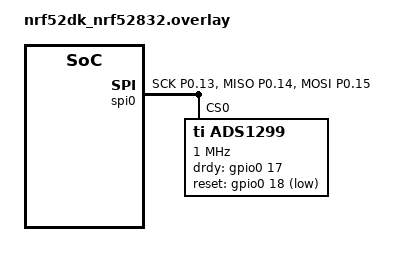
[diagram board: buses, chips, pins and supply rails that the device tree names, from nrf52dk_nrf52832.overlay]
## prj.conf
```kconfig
#
# Copyright (c) 2018 Nordic Semiconductor
#
# SPDX-License-Identifier: LicenseRef-Nordic-5-Clause
#

# Enable the UART driver
CONFIG_UART_ASYNC_API=y
CONFIG_NRFX_UARTE0=y
CONFIG_SERIAL=y

CONFIG_GPIO=y
CONFIG_SPI=y
CONFIG_SOC_NRF52832_ALLOW_SPIM_DESPITE_PAN_58=y

# Make sure printk is printing to the UART console
CONFIG_CONSOLE=y
CONFIG_UART_CONSOLE=y
CONFIG_HEAP_MEM_POOL_SIZE=2048

CONFIG_BT=y
CONFIG_BT_PERIPHERAL=y
CONFIG_BT_DEVICE_NAME="ANA_STICKER"
CONFIG_BT_MAX_CONN=1
CONFIG_BT_MAX_PAIRED=1

# Enable the NUS service
CONFIG_BT_NUS=y

# Enable bonding
CONFIG_BT_SETTINGS=y
CONFIG_FLASH=y
CONFIG_FLASH_PAGE_LAYOUT=y
CONFIG_FLASH_MAP=y
CONFIG_NVS=y
CONFIG_SETTINGS=y

# Enable DK LED and Buttons library
CONFIG_DK_LIBRARY=y

# This example requires more stack
CONFIG_MAIN_STACK_SIZE=1152
CONFIG_SYSTEM_WORKQUEUE_STACK_SIZE=2048

# Config logger
CONFIG_LOG=y
CONFIG_USE_SEGGER_RTT=y
CONFIG_LOG_BACKEND_RTT=y
CONFIG_LOG_BACKEND_UART=n
CONFIG_LOG_PRINTK=n

CONFIG_ASSERT=y
```

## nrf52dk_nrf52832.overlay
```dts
&spi0 {
    compatible = "nordic,nrf-spim";
    status = "okay";
    pinctrl-0 = <&spi0_default>;
    pinctrl-1 = <&spi0_sleep>;
    pinctrl-names = "default", "sleep";
    

    ads1299: ads1299@0 {
        compatible = "ti,ads1299";
        reg = <0>;
        spi-max-frequency = <1000000>;
        label = "ADS1299";

        cs-gpios = <&gpio0 16 GPIO_ACTIVE_LOW>;
        drdy-gpios = <&gpio0 17 GPIO_ACTIVE_HIGH>;
        reset-gpios = <&gpio0 18 GPIO_ACTIVE_LOW>;
        status = "okay";
    };
};

&pinctrl {
    spi0_default: spi0_default {
        group1 {
            psels = <NRF_PSEL(SPIM_SCK, 0, 13)>,
                    <NRF_PSEL(SPIM_MISO, 0, 14)>,
                    <NRF_PSEL(SPIM_MOSI, 0, 15)>;
        };
    };

    spi0_sleep: spi0_sleep {
        group1 {
            psels = <NRF_PSEL(SPIM_SCK, 0, 13)>,
                    <NRF_PSEL(SPIM_MISO, 0, 14)>,
                    <NRF_PSEL(SPIM_MOSI, 0, 15)>;
        };
    };
};

&button0 {
    status = "disabled";
};

&button1 {
    status = "disabled";
};

&button2 {
    status = "disabled";
};

&button3 {
    status = "disabled";
};

&pwm0 {
    status = "disabled";
};

&led0 {
    status = "disabled";
};

&led1 {
    status = "disabled";
};

&i2c0 {
    status = "disabled";
};

/ {
    chosen {
        nordic_nus_uart = &uart0;
    };
};
```

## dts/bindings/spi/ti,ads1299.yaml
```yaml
description: |
  Texas Instruments ADS1299 - 8-channel, 24-bit, biopotential ADC

compatible: "ti,ads1299"
on-bus: spi

properties:
  reg:
    type: int
    required: true
    description: Chip select address on the SPI bus

  spi-max-frequency:
    type: int
    required: true
    description: Maximum SPI clock frequency in Hz
  cs-gpios:
    type: phandle-array
    required: true
    description: CS GPIO
  drdy-gpios:
    type: phandle-array
    required: true
    description: Data Ready (DRDY) interrupt GPIO

  reset-gpios:
    type: phandle-array
    required: false
    description: Optional reset GPIO for hardware reset

  label:
    type: string
    required: false
    description: Human-readable label for the device
```

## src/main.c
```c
/*
 * Copyright (c) 2018 Nordic Semiconductor ASA
 *
 * SPDX-License-Identifier: LicenseRef-Nordic-5-Clause
 */

/** @file
 *  @brief Nordic UART Bridge Service (NUS) sample
 */
#include <uart_async_adapter.h>

#include <zephyr/types.h>
#include <zephyr/kernel.h>
#include <zephyr/drivers/uart.h>
#include <zephyr/usb/usb_device.h>

#include <zephyr/device.h>
#include <zephyr/devicetree.h>
#include <soc.h>

#include <zephyr/bluetooth/bluetooth.h>
#include <zephyr/bluetooth/uuid.h>
#include <zephyr/bluetooth/gatt.h>
#include <zephyr/bluetooth/hci.h>

#include <bluetooth/services/nus.h>

#include <dk_buttons_and_leds.h>

#include <zephyr/settings/settings.h>

#include <stdio.h>
#include <string.h>
#include <zephyr/random/rand32.h>
#include <zephyr/logging/log.h>
#include "ads1299.h"
#include <zephyr/drivers/spi.h>
#include <zephyr/drivers/gpio.h>
#define LOG_MODULE_NAME peripheral_uart
LOG_MODULE_REGISTER(LOG_MODULE_NAME);

#define STACKSIZE CONFIG_BT_NUS_THREAD_STACK_SIZE
#define PRIORITY 7

#define DEVICE_NAME CONFIG_BT_DEVICE_NAME
#define DEVICE_NAME_LEN	(sizeof(DEVICE_NAME) - 1)

#define RUN_STATUS_LED DK_LED1
#define RUN_LED_BLINK_INTERVAL 1000

#define CON_STATUS_LED DK_LED2

#define KEY_PASSKEY_ACCEPT DK_BTN1_MSK
#define KEY_PASSKEY_REJECT DK_BTN2_MSK

#define UART_BUF_SIZE CONFIG_BT_NUS_UART_BUFFER_SIZE
#define UART_WAIT_FOR_BUF_DELAY K_MSEC(50)
#define UART_WAIT_FOR_RX CONFIG_BT_NUS_UART_RX_WAIT_TIME

static K_SEM_DEFINE(ble_init_ok, 0, 1);

static struct bt_conn *current_conn;
static struct bt_conn *auth_conn;

static const struct device *uart = DEVICE_DT_GET(DT_CHOSEN(nordic_nus_uart));
static struct k_work_delayable uart_work;

struct uart_data_t {
	void *fifo_reserved;
	uint8_t data[UART_BUF_SIZE];
	uint16_t len;
};

static K_FIFO_DEFINE(fifo_uart_tx_data);
static K_FIFO_DEFINE(fifo_uart_rx_data);

static const struct bt_data ad[] = {
	BT_DATA_BYTES(BT_DATA_FLAGS, (BT_LE_AD_GENERAL | BT_LE_AD_NO_BREDR)),
	BT_DATA(BT_DATA_NAME_COMPLETE, DEVICE_NAME, DEVICE_NAME_LEN),
};

static const struct bt_data sd[] = {
	BT_DATA_BYTES(BT_DATA_UUID128_ALL, BT_UUID_NUS_VAL),
};

#ifdef CONFIG_UART_ASYNC_ADAPTER
UART_ASYNC_ADAPTER_INST_DEFINE(async_adapter);
#else
#define async_adapter NULL
#endif

//Keeran you can change this to your hearts desire(the interval at which one set of data is sent and how many channels)
#define EEG_SEND_INTERVAL_MS 4
#define EEG_CHANNELS 4
/*------------------------------------------
fake eeg generator and sender
--------------------------------------------*/
static void send_latest_eeg(void)
{
    if (!current_conn) {
        return; // no BLE connection
    }

    uint8_t buf[EEG_CHANNELS*3];
    ads1299_get_latest_sample(buf);

    int err = bt_nus_send(current_conn, buf, sizeof(buf));
    if (err) {
        printk("bt_nus_send error: %d\n", err);
    } 
	// else {
    //     // Print the raw EEG values per channel to the terminal
    //     for (int ch = 0; ch < EEG_CHANNELS; ch++) {
    //         int32_t val = (buf[ch*3] << 16) | (buf[ch*3 + 1] << 8) | buf[ch*3 + 2];
    //         if (val & 0x800000) val |= 0xFF000000; // sign extend 24-bit to 32-bit
    //         printk("Channel %d: %ld\n", ch + 1, (long)val);
    //     }
    // }
}
static void uart_cb(const struct device *dev, struct uart_event *evt, void *user_data)
{
	ARG_UNUSED(dev);

	static size_t aborted_len;
	struct uart_data_t *buf;
	static uint8_t *aborted_buf;
	static bool disable_req;

	switch (evt->type) {
	case UART_TX_DONE:
		LOG_DBG("UART_TX_DONE");
		if ((evt->data.tx.len == 0) ||
		    (!evt->data.tx.buf)) {
			return;
		}

		if (aborted_buf) {
			buf = CONTAINER_OF(aborted_buf, struct uart_data_t,
					   data[0]);
			aborted_buf = NULL;
			aborted_len = 0;
		} else {
			buf = CONTAINER_OF(evt->data.tx.buf, struct uart_data_t,
					   data[0]);
		}

		k_free(buf);

		buf = k_fifo_get(&fifo_uart_tx_data, K_NO_WAIT);
		if (!buf) {
			return;
		}

		if (uart_tx(uart, buf->data, buf->len, SYS_FOREVER_MS)) {
			LOG_WRN("Failed to send data over UART");
		}

		break;

	case UART_RX_RDY:
		LOG_DBG("UART_RX_RDY");
		buf = CONTAINER_OF(evt->data.rx.buf, struct uart_data_t, data[0]);
		buf->len += evt->data.rx.len;

		if (disable_req) {
			return;
		}

		if ((evt->data.rx.buf[buf->len - 1] == '\n') ||
		    (evt->data.rx.buf[buf->len - 1] == '\r')) {
			disable_req = true;
			uart_rx_disable(uart);
		}

		break;

	case UART_RX_DISABLED:
		LOG_DBG("UART_RX_DISABLED");
		disable_req = false;

		buf = k_malloc(sizeof(*buf));
		if (buf) {
			buf->len = 0;
		} else {
			LOG_WRN("Not able to allocate UART receive buffer");
			k_work_reschedule(&uart_work, UART_WAIT_FOR_BUF_DELAY);
			return;
		}

		uart_rx_enable(uart, buf->data, sizeof(buf->data),
			       UART_WAIT_FOR_RX);

		break;

	case UART_RX_BUF_REQUEST:
		LOG_DBG("UART_RX_BUF_REQUEST");
		buf = k_malloc(sizeof(*buf));
		if (buf) {
			buf->len = 0;
			uart_rx_buf_rsp(uart, buf->data, sizeof(buf->data));
		} else {
			LOG_WRN("Not able to allocate UART receive buffer");
		}

		break;

	case UART_RX_BUF_RELEASED:
		LOG_DBG("UART_RX_BUF_RELEASED");
		buf = CONTAINER_OF(evt->data.rx_buf.buf, struct uart_data_t,
				   data[0]);

		if (buf->len > 0) {
			k_fifo_put(&fifo_uart_rx_data, buf);
		} else {
			k_free(buf);
		}

		break;

	case UART_TX_ABORTED:
		LOG_DBG("UART_TX_ABORTED");
		if (!aborted_buf) {
			aborted_buf = (uint8_t *)evt->data.tx.buf;
		}

		aborted_len += evt->data.tx.len;
		buf = CONTAINER_OF((void *)aborted_buf, struct uart_data_t,
				   data);

		uart_tx(uart, &buf->data[aborted_len],
			buf->len - aborted_len, SYS_FOREVER_MS);

		break;

	default:
		break;
	}
}

static void uart_work_handler(struct k_work *item)
{
	struct uart_data_t *buf;

	buf = k_malloc(sizeof(*buf));
	if (buf) {
		buf->len = 0;
	} else {
		LOG_WRN("Not able to allocate UART receive buffer");
		k_work_reschedule(&uart_work, UART_WAIT_FOR_BUF_DELAY);
		return;
	}

	uart_rx_enable(uart, buf->data, sizeof(buf->data), UART_WAIT_FOR_RX);
}

static bool uart_test_async_api(const struct device *dev)
{
	const struct uart_driver_api *api =
			(const struct uart_driver_api *)dev->api;

	return (api->callback_set != NULL);
}

static int uart_init(void)
{
	int err;
	int pos;
	struct uart_data_t *rx;
	struct uart_data_t *tx;

	if (!device_is_ready(uart)) {
		return -ENODEV;
	}

	if (IS_ENABLED(CONFIG_USB_DEVICE_STACK)) {
		err = usb_enable(NULL);
		if (err && (err != -EALREADY)) {
			LOG_ERR("Failed to enable USB");
			return err;
		}
	}

	rx = k_malloc(sizeof(*rx));
	if (rx) {
		rx->len = 0;
	} else {
		return -ENOMEM;
	}

	k_work_init_delayable(&uart_work, uart_work_handler);


	if (IS_ENABLED(CONFIG_UART_ASYNC_ADAPTER) && !uart_test_async_api(uart)) {
		/* Implement API adapter */
		uart_async_adapter_init(async_adapter, uart);
		uart = async_adapter;
	}

	err = uart_callback_set(uart, uart_cb, NULL);
	if (err) {
		k_free(rx);
		LOG_ERR("Cannot initialize UART callback");
		return err;
	}

	if (IS_ENABLED(CONFIG_UART_LINE_CTRL)) {
		LOG_INF("Wait for DTR");
		while (true) {
			uint32_t dtr = 0;

			uart_line_ctrl_get(uart, UART_LINE_CTRL_DTR, &dtr);
			if (dtr) {
				break;
			}
			/* Give CPU resources to low priority threads. */
			k_sleep(K_MSEC(100));
		}
		LOG_INF("DTR set");
		err = uart_line_ctrl_set(uart, UART_LINE_CTRL_DCD, 1);
		if (err) {
			LOG_WRN("Failed to set DCD, ret code %d", err);
		}
		err = uart_line_ctrl_set(uart, UART_LINE_CTRL_DSR, 1);
		if (err) {
			LOG_WRN("Failed to set DSR, ret code %d", err);
		}
	}

	tx = k_malloc(sizeof(*tx));

	if (tx) {
		pos = snprintf(tx->data, sizeof(tx->data),
			       "Starting Nordic UART service example\r\n");

		if ((pos < 0) || (pos >= sizeof(tx->data))) {
			k_free(rx);
			k_free(tx);
			LOG_ERR("snprintf returned %d", pos);
			return -ENOMEM;
		}

		tx->len = pos;
	} else {
		k_free(rx);
		return -ENOMEM;
	}

	err = uart_tx(uart, tx->data, tx->len, SYS_FOREVER_MS);
	if (err) {
		k_free(rx);
		k_free(tx);
		LOG_ERR("Cannot display welcome message (err: %d)", err);
		return err;
	}

	err = uart_rx_enable(uart, rx->data, sizeof(rx->data), UART_WAIT_FOR_RX);
	if (err) {
		LOG_ERR("Cannot enable uart reception (err: %d)", err);
		/* Free the rx buffer only because the tx buffer will be handled in the callback */
		k_free(rx);
	}

	return err;
}

static void connected(struct bt_conn *conn, uint8_t err)
{
	char addr[BT_ADDR_LE_STR_LEN];

	if (err) {
		LOG_ERR("Connection failed (err %u)", err);
		return;
	}

	bt_addr_le_to_str(bt_conn_get_dst(conn), addr, sizeof(addr));
	LOG_INF("Connected %s", addr);

	current_conn = bt_conn_ref(conn);

	dk_set_led_on(CON_STATUS_LED);
}

static void disconnected(struct bt_conn *conn, uint8_t reason)
{
	char addr[BT_ADDR_LE_STR_LEN];

	bt_addr_le_to_str(bt_conn_get_dst(conn), addr, sizeof(addr));

	LOG_INF("Disconnected: %s (reason %u)", addr, reason);

	if (auth_conn) {
		bt_conn_unref(auth_conn);
		auth_conn = NULL;
	}

	if (current_conn) {
		bt_conn_unref(current_conn);
		current_conn = NULL;
		dk_set_led_off(CON_STATUS_LED);
	}
}

#ifdef CONFIG_BT_NUS_SECURITY_ENABLED
static void security_changed(struct bt_conn *conn, bt_security_t level,
			     enum bt_security_err err)
{
	char addr[BT_ADDR_LE_STR_LEN];

	bt_addr_le_to_str(bt_conn_get_dst(conn), addr, sizeof(addr));

	if (!err) {
		LOG_INF("Security changed: %s level %u", addr, level);
	} else {
		LOG_WRN("Security failed: %s level %u err %d", addr,
			level, err);
	}
}
#endif

BT_CONN_CB_DEFINE(conn_callbacks) = {
	.connected    = connected,
	.disconnected = disconnected,
#ifdef CONFIG_BT_NUS_SECURITY_ENABLED
	.security_changed = security_changed,
#endif
};

#if defined(CONFIG_BT_NUS_SECURITY_ENABLED)
static void auth_passkey_display(struct bt_conn *conn, unsigned int passkey)
{
	char addr[BT_ADDR_LE_STR_LEN];

	bt_addr_le_to_str(bt_conn_get_dst(conn), addr, sizeof(addr));

	LOG_INF("Passkey for %s: %06u", addr, passkey);
}

static void auth_passkey_confirm(struct bt_conn *conn, unsigned int passkey)
{
	char addr[BT_ADDR_LE_STR_LEN];

	auth_conn = bt_conn_ref(conn);

	bt_addr_le_to_str(bt_conn_get_dst(conn), addr, sizeof(addr));

	LOG_INF("Passkey for %s: %06u", addr, passkey);
	LOG_INF("Press Button 1 to confirm, Button 2 to reject.");
}


static void auth_cancel(struct bt_conn *conn)
{
	char addr[BT_ADDR_LE_STR_LEN];

	bt_addr_le_to_str(bt_conn_get_dst(conn), addr, sizeof(addr));

	LOG_INF("Pairing cancelled: %s", addr);
}


static void pairing_complete(struct bt_conn *conn, bool bonded)
{
	char addr[BT_ADDR_LE_STR_LEN];

	bt_addr_le_to_str(bt_conn_get_dst(conn), addr, sizeof(addr));

	LOG_INF("Pairing completed: %s, bonded: %d", addr, bonded);
}


static void pairing_failed(struct bt_conn *conn, enum bt_security_err reason)
{
	char addr[BT_ADDR_LE_STR_LEN];

	bt_addr_le_to_str(bt_conn_get_dst(conn), addr, sizeof(addr));

	LOG_INF("Pairing failed conn: %s, reason %d", addr, reason);
}


static struct bt_conn_auth_cb conn_auth_callbacks = {
	.passkey_display = auth_passkey_display,
	.passkey_confirm = auth_passkey_confirm,
	.cancel = auth_cancel,
};

static struct bt_conn_auth_info_cb conn_auth_info_callbacks = {
	.pairing_complete = pairing_complete,
	.pairing_failed = pairing_failed
};
#else
static struct bt_conn_auth_cb conn_auth_callbacks;
static struct bt_conn_auth_info_cb conn_auth_info_callbacks;
#endif

static void bt_receive_cb(struct bt_conn *conn, const uint8_t *const data,
			  uint16_t len)
{
	int err;
	char addr[BT_ADDR_LE_STR_LEN] = {0};

	bt_addr_le_to_str(bt_conn_get_dst(conn), addr, ARRAY_SIZE(addr));

	LOG_INF("Received data from: %s", addr);

	for (uint16_t pos = 0; pos != len;) {
		struct uart_data_t *tx = k_malloc(sizeof(*tx));

		if (!tx) {
			LOG_WRN("Not able to allocate UART send data buffer");
			return;
		}

		/* Keep the last byte of TX buffer for potential LF char. */
		size_t tx_data_size = sizeof(tx->data) - 1;

		if ((len - pos) > tx_data_size) {
			tx->len = tx_data_size;
		} else {
			tx->len = (len - pos);
		}

		memcpy(tx->data, &data[pos], tx->len);

		pos += tx->len;

		/* Append the LF character when the CR character triggered
		 * transmission from the peer.
		 */
		if ((pos == len) && (data[len - 1] == '\r')) {
			tx->data[tx->len] = '\n';
			tx->len++;
		}

		err = uart_tx(uart, tx->data, tx->len, SYS_FOREVER_MS);
		if (err) {
			k_fifo_put(&fifo_uart_tx_data, tx);
		}
	}
}

static struct bt_nus_cb nus_cb = {
	.received = bt_receive_cb,
};

void error(void)
{
	dk_set_leds_state(DK_ALL_LEDS_MSK, DK_NO_LEDS_MSK);

	while (true) {
		/* Spin for ever */
		k_sleep(K_MSEC(1000));
	}
}

#ifdef CONFIG_BT_NUS_SECURITY_ENABLED
static void num_comp_reply(bool accept)
{
	if (accept) {
		bt_conn_auth_passkey_confirm(auth_conn);
		LOG_INF("Numeric Match, conn %p", (void *)auth_conn);
	} else {
		bt_conn_auth_cancel(auth_conn);
		LOG_INF("Numeric Reject, conn %p", (void *)auth_conn);
	}

	bt_conn_unref(auth_conn);
	auth_conn = NULL;
}

void button_changed(uint32_t button_state, uint32_t has_changed)
{
	uint32_t buttons = button_state & has_changed;

	if (auth_conn) {
		if (buttons & KEY_PASSKEY_ACCEPT) {
			num_comp_reply(true);
		}

		if (buttons & KEY_PASSKEY_REJECT) {
			num_comp_reply(false);
		}
	}
}
#endif /* CONFIG_BT_NUS_SECURITY_ENABLED */

static void configure_gpio(void)
{
	int err;

#ifdef CONFIG_BT_NUS_SECURITY_ENABLED
	err = dk_buttons_init(button_changed);
	if (err) {
		LOG_ERR("Cannot init buttons (err: %d)", err);
	}
#endif /* CONFIG_BT_NUS_SECURITY_ENABLED */

	err = dk_leds_init();
	if (err) {
		LOG_ERR("Cannot init LEDs (err: %d)", err);
	}
}

int main(void)
{
	int blink_status = 0;
	int err = 0;

	configure_gpio();

	err = uart_init();
	if (err) {
		error();
	}

	if (IS_ENABLED(CONFIG_BT_NUS_SECURITY_ENABLED)) {
		err = bt_conn_auth_cb_register(&conn_auth_callbacks);
		if (err) {
			printk("Failed to register authorization callbacks.\n");
			return 0;
		}

		err = bt_conn_auth_info_cb_register(&conn_auth_info_callbacks);
		if (err) {
			printk("Failed to register authorization info callbacks.\n");
			return 0;
		}
	}

	err = bt_enable(NULL);
	if (err) {
		error();
	}

	LOG_INF("Bluetooth initialized");
	

	k_sem_give(&ble_init_ok);

	if (IS_ENABLED(CONFIG_SETTINGS)) {
		settings_load();
	}

	err = bt_nus_init(&nus_cb);
	if (err) {
		LOG_ERR("Failed to initialize UART service (err: %d)", err);
		return 0;
	}

	err = bt_le_adv_start(BT_LE_ADV_CONN, ad, ARRAY_SIZE(ad), sd,
			      ARRAY_SIZE(sd));
	if (err) {
		LOG_ERR("Advertising failed to start (err %d)", err);
		return 0;
	}

	// after BLE init in main.c
	LOG_INF("Starting ADS1299 test");
        const struct device *dev = DEVICE_DT_GET_ONE(ti_ads1299);
        if(!device_is_ready(dev)){
                LOG_ERR("ADS1299 device not ready");
                return 0;
        }
       ads1299_send_command(dev, _START);
       LOG_INF("Streaming of ADS Data started");
       ads1299_send_command(dev, _RDATAC);
	while (1) {
    if (current_conn) {
        k_mutex_lock(&eeg_mutex, K_FOREVER);
        if (sample_ready) {
            uint8_t buf[EEG_CHANNELS*3];
            memcpy(buf, latest_eeg_sample, sizeof(buf));
            sample_ready = false;  // mark as consumed
            k_mutex_unlock(&eeg_mutex);

            int err = bt_nus_send(current_conn, buf, sizeof(buf));
            if (err) {
                LOG_WRN("Failed to send EEG data over BLE: %d", err);
            }
        } else {
            k_mutex_unlock(&eeg_mutex);
        }
    }

    dk_set_led(RUN_STATUS_LED, (++blink_status) % 2);
}

}

void ble_write_thread(void)
{
	/* Don't go any further until BLE is initialized */
	k_sem_take(&ble_init_ok, K_FOREVER);
	struct uart_data_t nus_data = {
		.len = 0,
	};

	for (;;) {
		/* Wait indefinitely for data to be sent over bluetooth */
		struct uart_data_t *buf = k_fifo_get(&fifo_uart_rx_data,
						     K_FOREVER);

		int plen = MIN(sizeof(nus_data.data) - nus_data.len, buf->len);
		int loc = 0;

		while (plen > 0) {
			memcpy(&nus_data.data[nus_data.len], &buf->data[loc], plen);
			nus_data.len += plen;
			loc += plen;

			if (nus_data.len >= sizeof(nus_data.data) ||
			   (nus_data.data[nus_data.len - 1] == '\n') ||
			   (nus_data.data[nus_data.len - 1] == '\r')) {
				if (bt_nus_send(NULL, nus_data.data, nus_data.len)) {
					LOG_WRN("Failed to send data over BLE connection");
				}
				nus_data.len = 0;
			}

			plen = MIN(sizeof(nus_data.data), buf->len - loc);
		}

		k_free(buf);
	}
}

K_THREAD_DEFINE(ble_write_thread_id, STACKSIZE, ble_write_thread, NULL, NULL,
		NULL, PRIORITY, 0, 0);
```

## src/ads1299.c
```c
#include "ads1299.h"
#include <zephyr/kernel.h>
#include <zephyr/logging/log.h>
#include <zephyr/drivers/spi.h>
#include <zephyr/drivers/gpio.h>



#define DT_DRV_COMPAT ti_ads1299
#define ADS1299_CMD_DELAY_US 30
#define EEG_CHANNELS 4
uint8_t latest_eeg_sample[EEG_CHANNELS * 3];
bool sample_ready = false;
K_MUTEX_DEFINE(eeg_mutex); // protects the latest sample
LOG_MODULE_REGISTER(ads1299, LOG_LEVEL_INF);
K_THREAD_STACK_DEFINE(drdy_stack, 1024);
struct k_work_q drdy_work_q;

//Powerup and reset
void ads1299_power_up(const struct device *dev){
    const struct ads1299_data *data = dev->data;
    LOG_INF("Starting ADS1299 Power Up");
    k_usleep(1000000); //Delay power for 1s
    k_usleep(70000); // Delay t_por = 2^16 x t_CLK of ADS (1/1MHz)=0.065s => Delay 70ms CHECK!!!!
    gpio_pin_set_dt(&data->reset_gpio, 1);
    k_busy_wait(10); // Delay 2 x t_CLK of ADS = 2x(1/1MHz)=2us CHECK!!!!
    gpio_pin_set_dt(&data->reset_gpio, 0);
    k_busy_wait(18); // Delay 18 x t_CLK of ADS = 18x(1/1MHz)=18us to start using the Device CHECK!!!!
    k_usleep(1000000); //Delay power for 1s
    LOG_INF("ADS1299 Powered up");
}

//SPI read/write register
uint8_t ads1299_rreg(const struct device *dev, uint8_t address){
    const struct ads1299_data *data = dev->data;
    LOG_INF("Beginning to read from register at address: 0x%02X", address);
    uint8_t tx_buf[3];
    uint8_t rx_buf[3];

    tx_buf[0] = 0x20 | address; // RREG + register address
    tx_buf[1] = 0x00;       // Number of registers to read - 1
    tx_buf[2] = 0x00;       // Dummy byte to clock out register value

    struct spi_buf tx = { .buf = tx_buf, .len = sizeof(tx_buf) };
    struct spi_buf rx = { .buf = rx_buf, .len = sizeof(rx_buf) };

    struct spi_buf_set tx_set = { .buffers = &tx, .count = 1 };
    struct spi_buf_set rx_set = { .buffers = &rx, .count = 1 };
    
    gpio_pin_set_dt(&data->cs_gpios, 1);
    int ret = spi_transceive(data->spi, data->spi_cfg, &tx_set, &rx_set);
    
    if (ret < 0) {
        LOG_ERR("Failed to read register: 0x%02X", ret);
        return ret;
    }
    
    k_busy_wait(30);
    gpio_pin_set_dt(&data->cs_gpios, 0);
    LOG_INF("Register succesfully read from address: 0x%02X", address);
    return rx_buf[2];// Register value arrives in the last byte
}
void ads1299_wrreg(const struct device *dev, uint8_t address, uint8_t value){
    const struct ads1299_data *data = dev->data;
    LOG_INF("Beginning to write to register at address: 0x%02X", address);
    uint8_t tx_buf[3];
    tx_buf[0] = 0x40 | address; // WREG + register address
    tx_buf[1] = 0x00;           // Number of registers to write - 1
    tx_buf[2] = value;           // Data byte

    struct spi_buf tx = { .buf = tx_buf, .len = sizeof(tx_buf) };
    struct spi_buf_set tx_set = { .buffers = &tx, .count = 1 };

    // Send WREG command + data
    gpio_pin_set_dt(&data->cs_gpios, 1);
    int ret = spi_write(data->spi, data->spi_cfg, &tx_set);
    if (ret < 0) {
        LOG_ERR("Failed to write register: 0x%02X", ret);
    }
    k_busy_wait(30); 
    gpio_pin_set_dt(&data->cs_gpios, 0);
    LOG_INF("Succesfully wrote to register at address: 0x%02X", address);
}

//Device recognition(reading device id)
void ads1299_recognise(const struct device *dev){
    const struct ads1299_data *data = dev->data;
    uint8_t ADS_ID = ads1299_rreg(dev, ID);
    if(ADS_ID == 0x3e){
        LOG_INF("Succesfully read device ID: 0x%02X", ADS_ID);
    }
    else{
        LOG_INF("Failed to read device ID: 0x%02X", ADS_ID);
    }
}

//send commands
void ads1299_send_command(const struct device *dev, uint8_t cmd){
    const struct ads1299_data *data = dev->data;
    LOG_INF("Sending command: 0x%02X", cmd);
    struct spi_buf tx_buf = {
        .buf = &cmd,
        .len = 1
    };
    struct spi_buf_set tx_set = {
        .buffers = &tx_buf,
        .count = 1
    };
    
    
    gpio_pin_set_dt(&data->cs_gpios, 1);
    int ret = spi_write(data->spi, data->spi_cfg, &tx_set);
    if (ret < 0 ){
        LOG_INF("Command send failed");
    }
    k_busy_wait(ADS1299_CMD_DELAY_US);
    gpio_pin_set_dt(&data->cs_gpios, 0);
    LOG_INF("Command sent sucesfully");
}

//DRDY INTERRUPT/CALLBACK(data acquisition)
static void drdy_callback(const struct device *port,
                          struct gpio_callback *cb,
                          uint32_t pins)
{
    struct ads1299_data *data = CONTAINER_OF(cb, struct ads1299_data, drdy_cb);

    // Schedule the work on the high-priority workqueue
    k_work_submit_to_queue(&drdy_work_q, &data->drdy_work);
}



#define BASELINE_SAMPLES 500

static int32_t channel_baseline[EEG_CHANNELS] = {0};
static int32_t baseline_accum[EEG_CHANNELS] = {0};
static int baseline_count = 0;
static bool baseline_captured = false;



void ads1299_store_sample(uint8_t *data)
{
    k_mutex_lock(&eeg_mutex, K_FOREVER);
    memcpy(latest_eeg_sample, data, EEG_CHANNELS * 3);
    sample_ready = true;  // <-- mark sample ready
    k_mutex_unlock(&eeg_mutex);
}
void ads1299_get_latest_sample(uint8_t *buf)
{
    k_mutex_lock(&eeg_mutex, K_FOREVER);
    memcpy(buf, latest_eeg_sample, EEG_CHANNELS * 3);
    sample_ready = false;  // <-- sample has been consumed
    k_mutex_unlock(&eeg_mutex);
}

// Called from DRDY work handler
static void ads1299_readout_work_handler(struct k_work *work)
{
    struct ads1299_data *data = CONTAINER_OF(work, struct ads1299_data, drdy_work);

    uint8_t rx_buf[27] = {0};
    uint8_t tx_buf[27] = {0};

    struct spi_buf tx = { .buf = tx_buf, .len = sizeof(tx_buf) };
    struct spi_buf rx = { .buf = rx_buf, .len = sizeof(rx_buf) };

    struct spi_buf_set tx_set = { .buffers = &tx, .count = 1 };
    struct spi_buf_set rx_set = { .buffers = &rx, .count = 1 };
    unsigned int key = irq_lock();   
    gpio_pin_set_dt(&data->cs_gpios, 1);
    int ret = spi_transceive(data->spi, data->spi_cfg, &tx_set, &rx_set);
    gpio_pin_set_dt(&data->cs_gpios, 0);
    irq_unlock(key);
    if (ret < 0) {
        LOG_ERR("SPI read failed: %d", ret);
        return;
    }

    uint8_t eeg_packet[EEG_CHANNELS * 3];
    for (int ch = 0; ch < EEG_CHANNELS; ch++) {
        int32_t val = (rx_buf[3 + 3*ch] << 16) |
                      (rx_buf[3 + 3*ch + 1] << 8) |
                      rx_buf[3 + 3*ch + 2];
        if (val & 0x800000) val |= 0xFF000000; // sign extend
        val -= channel_baseline[ch];

        eeg_packet[ch*3 + 0] = (val >> 16) & 0xFF;
        eeg_packet[ch*3 + 1] = (val >> 8) & 0xFF;
        eeg_packet[ch*3 + 2] = val & 0xFF;
    }

    // store safely under mutex
    printk("Raw bytes: %02X %02X %02X ...\n", rx_buf[3], rx_buf[4], rx_buf[5]);
    ads1299_store_sample(eeg_packet);
}


/* ADS1299 device initialization */
static int ads1299_init(const struct device *dev){
    struct ads1299_data *data = dev->data;
    

    if(!device_is_ready(data->spi)) {
        LOG_ERR("SPI bus not ready");
        return -ENODEV;
    }

    if(!device_is_ready(data->drdy_gpio.port)) {
        LOG_ERR("DRDY GPIO not ready");
        return -ENODEV;
    }

    gpio_pin_configure_dt(&data->drdy_gpio, GPIO_INPUT); //configure as input
    gpio_pin_interrupt_configure_dt(&data->drdy_gpio, GPIO_INT_EDGE_TO_INACTIVE); 

    if(!device_is_ready(data->reset_gpio.port)){
        LOG_ERR("RESET GPIO not ready");
        return -ENODEV;
    }
    gpio_pin_configure_dt(&data->reset_gpio, GPIO_OUTPUT_LOW);
    if(!device_is_ready(data->cs_gpios.port)){
        LOG_ERR("CS GPIO not ready");
        return -ENODEV;
    }
    gpio_pin_configure_dt(&data->cs_gpios, GPIO_OUTPUT_HIGH);

    // Init the work item
    k_work_init(&data->drdy_work, ads1299_readout_work_handler);
    k_work_queue_start(&drdy_work_q,
                   drdy_stack,
                   K_THREAD_STACK_SIZEOF(drdy_stack),
                   K_HIGHEST_APPLICATION_THREAD_PRIO,  // very high priority
                   NULL);
    // Init GPIO callback
    gpio_init_callback(&data->drdy_cb, drdy_callback, BIT(data->drdy_gpio.pin));
    gpio_add_callback(data->drdy_gpio.port, &data->drdy_cb);
   
    //reset and power up ads
    ads1299_power_up(dev);

    // Wake up and stop continuous read
    ads1299_send_command(dev, _WAKEUP);
    ads1299_send_command(dev, _SDATAC);

    LOG_INF("ADS1299 initialised");
    return 0;
}


/* Macro to define an instance of ADS1299 using DT */
static const struct spi_config ads1299_spi_cfg = {
    .frequency = 1000000,                   // 1 MHz, adjust if needed
    .operation = SPI_WORD_SET(8) | SPI_TRANSFER_MSB| SPI_FULL_DUPLEX| SPI_MODE_CPHA| SPI_OP_MODE_MASTER,
    .slave = 0,                              // SPI slave number
    .cs = 0,                       // setting to 0 if doing it manually
};
    #define ADS1299_DEFINE(inst) \
    static struct ads1299_data ads1299_data_##inst = { \
        .spi = DEVICE_DT_GET(DT_INST_BUS(inst)), \
        .spi_cfg = &ads1299_spi_cfg, \
        .cs_gpios = GPIO_DT_SPEC_GET(DT_DRV_INST(inst), cs_gpios), \
        .drdy_gpio = GPIO_DT_SPEC_GET(DT_DRV_INST(inst), drdy_gpios), \
        .reset_gpio = GPIO_DT_SPEC_GET(DT_DRV_INST(inst), reset_gpios) \
    }; \
    DEVICE_DT_INST_DEFINE(inst, \
        ads1299_init, \
        NULL, \
        &ads1299_data_##inst, \
        NULL, \
        POST_KERNEL, \
        CONFIG_KERNEL_INIT_PRIORITY_DEVICE, \
        NULL)

DT_INST_FOREACH_STATUS_OKAY(ADS1299_DEFINE)
```

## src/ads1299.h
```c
#ifndef ADS1299_H_
#define ADS1299_H_

#include <zephyr/device.h>
#include <zephyr/drivers/spi.h>
#include <zephyr/drivers/gpio.h>

/* -------------------------------------------------------------------------- */
/* ADS1299 Command Definitions                                                */
/* -------------------------------------------------------------------------- */
#define _WAKEUP   0x02  // Wake-up from standby mode
#define _STANDBY  0x04  // Enter standby mode
#define _RESET    0x06  // Reset the device
#define _START    0x08  // Start conversions
#define _STOP     0x0A  // Stop conversions
#define _RDATAC   0x10  // Enable continuous read mode
#define _SDATAC   0x11  // Stop continuous read mode
#define _RDATA    0x12  // Read data once

/* -------------------------------------------------------------------------- */
/* ADS1299 Register Addresses                                                 */
/* -------------------------------------------------------------------------- */
/* Device settings */
#define ID        0x00  // Device ID register

/* Global settings across all channels */
#define CONFIG1   0x01  // Data rate, daisy-chain mode, etc.
#define CONFIG2   0x02  // Test signal configuration
#define CONFIG3   0x03  // Bias drive, reference buffer

/* Individual channel settings */
#define CH1SET    0x05  // Channel 1 settings
#define CH2SET    0x06  // Channel 2 settings
#define CH3SET    0x07  // Channel 3 settings
#define CH4SET    0x08  // Channel 4 settings
#define CH5SET    0x09  // Channel 5 settings
#define CH6SET    0x0A  // Channel 6 settings
#define CH7SET    0x0B  // Channel 7 settings
#define CH8SET    0x0C  // Channel 8 settings

/* Lead-off detection */
#define LOFF      0x04  // Lead-off control register
#define LOFF_SENSP 0x0D // Positive lead-off settings
#define LOFF_SENSN 0x0E // Negative lead-off settings
#define LOFF_FLIP  0x0F // Lead-off flip register

/* GPIO and other registers */
#define GPIO       0x14 // General-purpose I/O register
#define MISC1      0x15 // Miscellaneous settings 1
#define MISC2      0x16 // Miscellaneous settings 2

/* -------------------------------------------------------------------------- */
/* Driver Data Structure                                                      */
/* -------------------------------------------------------------------------- */
struct ads1299_data {
    const struct device *spi;                   // SPI device
    const struct spi_config *spi_cfg;           // SPI configuration
    struct gpio_dt_spec cs_gpios;
    struct gpio_dt_spec drdy_gpio;              // DRDY pin (data ready)
    struct gpio_dt_spec reset_gpio;             // RESET pin
    struct gpio_callback drdy_cb;               //drdy callback
    struct k_work drdy_work;                    //drdy work queue
};
void ads1299_get_latest_sample(uint8_t *buf);
#define EEG_CHANNELS 4
extern uint8_t latest_eeg_sample[EEG_CHANNELS * 3];
extern bool sample_ready;
extern struct k_mutex eeg_mutex;
/* -------------------------------------------------------------------------- */
/* Function Prototypes                                                        */
/* -------------------------------------------------------------------------- */
//Powerup and reset
void ads1299_power_up(const struct device *dev);

//SPI read/write register
uint8_t ads1299_rreg(const struct device *dev, uint8_t address);
void ads1299_wrreg(const struct device *dev, uint8_t address, uint8_t value);

//Device recognition(reading device id)
void ads1299_recognise(const struct device *dev);

//send commands
void ads1299_send_command(const struct device *dev, uint8_t cmd);

//Data acquisition 
void ads1299_get_data_rdata(const struct device *dev);

//SPI initiliastion/GPIO setup
static int ads1299_init(const struct device *dev);

#endif /* ADS1299_H_ */
```
